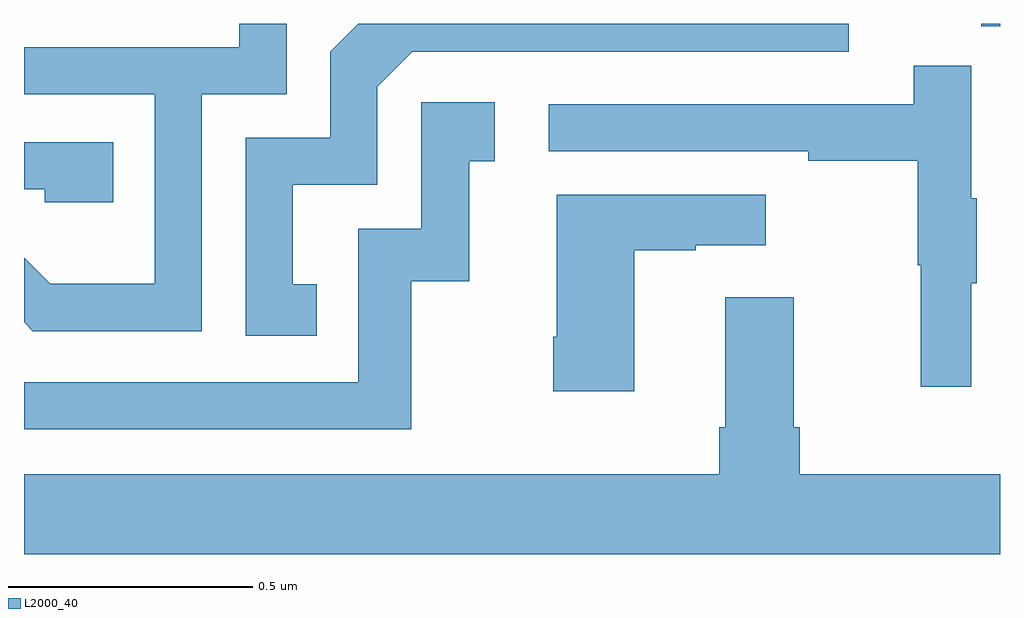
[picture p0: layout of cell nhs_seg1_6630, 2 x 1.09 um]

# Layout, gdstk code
import gdstk
lib = gdstk.Library(unit=1e-6, precision=1e-09)
def R(c, l, rs):  # rectangles x0, y0, x1, y1
    for r in rs: c.add(gdstk.rectangle(r[:2], r[2:], *l))
def P(c, l, *ps):  # polygons
    for p in ps: c.add(gdstk.Polygon(p, *l))
L2000_40 = (2000, 40)

nhs_seg1_6630 = lib.new_cell('nhs_seg1_6630')
R(nhs_seg1_6630, L2000_40, [(195.962,506.194,196,506.199)])
P(nhs_seg1_6630, L2000_40, [(194.6,505.665),(194.551,505.665),(194.551,505.869),(194.724,505.869),(194.724,506.07),(194.796,506.142),(195.69,506.142),(195.69,506.199),(194.685,506.199),(194.628,506.142),(194.628,505.965),(194.454,505.965),(194.454,505.56),(194.6,505.56)],
  [(194.364,506.055),(194.538,506.055),(194.538,506.199),(194.441,506.199),(194.441,506.151),(194,506.151),(194,506.055),(194.268,506.055),(194.268,505.666),(194.054,505.666),(194,505.72),(194,505.587),(194.018,505.569),(194.364,505.569)],
  [(195.941,505.667),(195.952,505.667),(195.952,505.841),(195.941,505.841),(195.941,506.113),(195.823,506.113),(195.823,506.034),(195.075,506.034),(195.075,505.938),(195.607,505.938),(195.607,505.918),(195.831,505.918),(195.831,505.704),(195.838,505.704),(195.838,505.455),(195.941,505.455)],
  [(194.794,505.671),(194.912,505.671),(194.912,505.917),(194.965,505.917),(194.965,506.038),(194.814,506.038),(194.814,505.779),(194.685,505.779),(194.685,505.464),(194,505.464),(194,505.368),(194.794,505.368)],
  [(194.183,505.956),(194,505.956),(194,505.86),(194.043,505.86),(194.043,505.833),(194.183,505.833)],
  [(195.25,505.735),(195.377,505.735),(195.377,505.745),(195.52,505.745),(195.52,505.849),(195.092,505.849),(195.092,505.558),(195.085,505.558),(195.085,505.446),(195.25,505.446)],
  [(196,505.276),(195.59,505.276),(195.59,505.372),(195.577,505.372),(195.577,505.639),(195.437,505.639),(195.437,505.372),(195.425,505.372),(195.425,505.276),(194,505.276),(194,505.112),(196,505.112)])

lib.write_gds('nhs_seg1_6630.gds')
